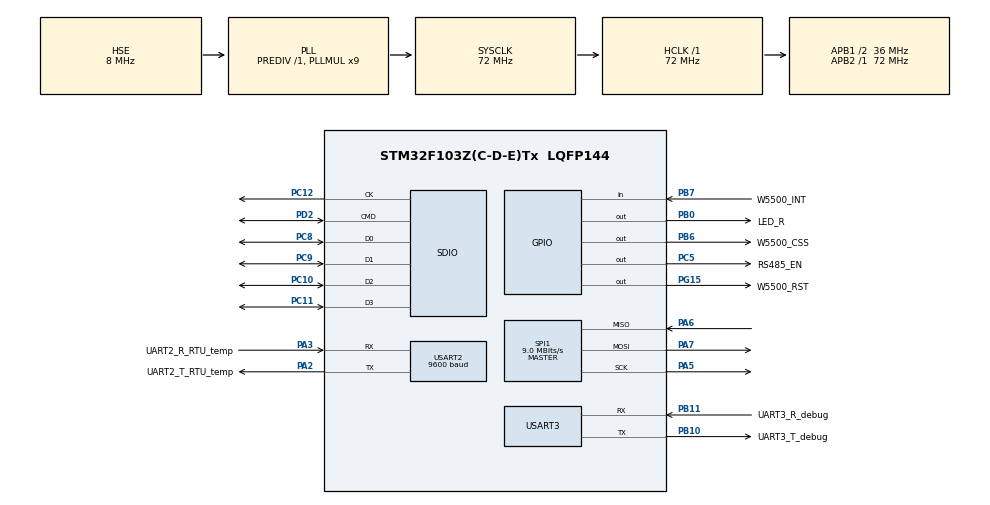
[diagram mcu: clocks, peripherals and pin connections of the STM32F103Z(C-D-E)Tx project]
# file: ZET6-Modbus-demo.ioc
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Dma.Request0=SDIO
Dma.SDIO.0.Direction=DMA_PERIPH_TO_MEMORY
Dma.SDIO.0.Instance=DMA2_Channel4
Dma.SDIO.0.MemDataAlignment=DMA_MDATAALIGN_WORD
Dma.SDIO.0.MemInc=DMA_MINC_ENABLE
Dma.SDIO.0.Mode=DMA_NORMAL
Dma.SDIO.0.PeriphDataAlignment=DMA_PDATAALIGN_WORD
Dma.SDIO.0.PeriphInc=DMA_PINC_DISABLE
Dma.SDIO.0.Priority=DMA_PRIORITY_LOW
FATFS._MAX_SS=4096
FATFS._USE_FIND=1
Mcu.Family=STM32F1
Mcu.Name=STM32F103Z(C-D-E)Tx
Mcu.Package=LQFP144
NVIC.DMA2_Channel4_5_IRQn=true\:0\:0\:false\:false\:true\:false\:true\:true
NVIC.PriorityGroup=NVIC_PRIORITYGROUP_4
NVIC.SDIO_IRQn=true\:0\:0\:false\:false\:true\:true\:true\:true
NVIC.SPI1_IRQn=true\:0\:0\:false\:false\:true\:true\:true\:true
NVIC.TIM2_IRQn=true\:0\:0\:false\:false\:true\:true\:true\:true
NVIC.USART2_IRQn=true\:0\:0\:false\:false\:true\:true\:true\:true
NVIC.USART3_IRQn=true\:0\:0\:false\:false\:true\:true\:true\:true
OSC_IN.Mode=HSE-External-Oscillator
OSC_IN.Signal=RCC_OSC_IN
OSC_OUT.Mode=HSE-External-Oscillator
OSC_OUT.Signal=RCC_OSC_OUT
PA13.Mode=Serial_Wire
PA13.Signal=SYS_JTMS-SWDIO
PA14.Mode=Serial_Wire
PA14.Signal=SYS_JTCK-SWCLK
PA2.GPIO_Label=UART2_T_RTU_temp
PA2.Mode=Asynchronous
PA2.Signal=USART2_TX
PA3.GPIO_Label=UART2_R_RTU_temp
PA3.GPIO_PuPd=GPIO_PULLUP
PA3.Mode=Asynchronous
PA3.Signal=USART2_RX
PA5.Mode=Full_Duplex_Master
PA5.Signal=SPI1_SCK
PA6.Mode=Full_Duplex_Master
PA6.Signal=SPI1_MISO
PA7.Mode=Full_Duplex_Master
PA7.Signal=SPI1_MOSI
PB0.GPIO_Label=LED_R
PB0.PinState=GPIO_PIN_RESET
PB0.Signal=GPIO_Output
PB10.GPIO_Label=UART3_T_debug
PB10.Mode=Asynchronous
PB10.Signal=USART3_TX
PB11.GPIO_Label=UART3_R_debug
PB11.Mode=Asynchronous
PB11.Signal=USART3_RX
PB6.GPIO_Label=W5500_CSS
PB6.Signal=GPIO_Output
PB7.GPIO_Label=W5500_INT
PB7.Signal=GPIO_Input
PC10.Mode=SD_4_bits_Wide_bus
PC10.Signal=SDIO_D2
PC11.Mode=SD_4_bits_Wide_bus
PC11.Signal=SDIO_D3
PC12.Mode=SD_4_bits_Wide_bus
PC12.Signal=SDIO_CK
PC5.GPIO_Label=RS485_EN
PC5.Signal=GPIO_Output
PC8.Mode=SD_4_bits_Wide_bus
PC8.Signal=SDIO_D0
PC9.Mode=SD_4_bits_Wide_bus
PC9.Signal=SDIO_D1
PD2.Mode=SD_4_bits_Wide_bus
PD2.Signal=SDIO_CMD
PG15.GPIO_Label=W5500_RST
PG15.GPIO_PuPd=GPIO_NOPULL
PG15.PinState=GPIO_PIN_SET
PG15.Signal=GPIO_Output
ProjectManager.HeapSize=0x200
ProjectManager.StackSize=0x400
ProjectManager.TargetToolchain=MDK-ARM V5.32
RCC.AHBFreq_Value=72000000
RCC.APB1CLKDivider=RCC_HCLK_DIV2
RCC.APB1Freq_Value=36000000
RCC.APB1TimFreq_Value=72000000
RCC.APB2Freq_Value=72000000
RCC.APB2TimFreq_Value=72000000
RCC.HCLKFreq_Value=72000000
RCC.PLLMUL=RCC_PLL_MUL9
RCC.PLLSourceVirtual=RCC_PLLSOURCE_HSE
RCC.SYSCLKFreq_VALUE=72000000
RCC.SYSCLKSource=RCC_SYSCLKSOURCE_PLLCLK
RCC.USBFreq_Value=72000000
SDIO.ClockDiv=1
SPI1.BaudRatePrescaler=SPI_BAUDRATEPRESCALER_8
SPI1.CalculateBaudRate=9.0 MBits/s
SPI1.Direction=SPI_DIRECTION_2LINES
SPI1.Mode=SPI_MODE_MASTER
SPI1.VirtualType=VM_MASTER
TIM2.AutoReloadPreload=TIM_AUTORELOAD_PRELOAD_ENABLE
TIM2.Period=9999
TIM2.Prescaler=7199
USART2.BaudRate=9600
USART2.VirtualMode=VM_ASYNC
USART3.VirtualMode=VM_ASYNC
VP_FATFS_VS_SDIO.Mode=SDIO
VP_TIM2_VS_ClockSourceINT.Mode=Internal
board=custom

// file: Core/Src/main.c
/* USER CODE BEGIN Header */
/**
  ******************************************************************************
  * @file           : main.c
  * @brief          : Main program body
  ******************************************************************************
  * @attention
  *
  * Copyright (c) 2026 STMicroelectronics.
  * All rights reserved.
  *
  * This software is licensed under terms that can be found in the LICENSE file
  * in the root directory of this software component.
  * If no LICENSE file comes with this software, it is provided AS-IS.
  *
  ******************************************************************************
  */
/* USER CODE END Header */
#include "main.h"
#include "dma.h"
#include "fatfs.h"
#include "sdio.h"
#include "spi.h"
#include "tim.h"
#include "usart.h"
#include "gpio.h"

/* USER CODE BEGIN Includes */
#include <stdio.h>
#include <string.h>
#include "socket.h"
#include "modbus.h"
#include <w5500.h>
#include <wizchip_conf.h>
#include "Conf_SPI_W5500.h"
#include "errno.h"

// for sd file
#include "fatfs.h"
#include "bsp_driver_sd.h"
#include "ff.h"
#include "diskio.h"
#include "myDiskio.h"
#include "SD.h"
/* USER CODE END Includes */

/* USER CODE BEGIN PTD */
static uint8_t tcp_rx_buf[MODBUS_TCP_MAX_ADU];   // TCP 接收缓冲
static uint8_t rtu_tx_buf[MODBUS_RTU_MAX_ADU];   // RTU 发�?�缓冲（请求�?
static uint8_t rtu_rx_buf[MODBUS_RTU_MAX_ADU];   // RTU 接收缓冲（响应）
static uint8_t rtu_req_buf[MODBUS_RTU_MAX_ADU];  // RTU 请求缓冲
static uint16_t sensor_vals[10];
static modbus_t *mb_tcp_ctx = NULL;
static modbus_mapping_t *mb_mapping = NULL;			// register mapping
uint16_t g_sensor_temp = 0;
uint16_t g_sensor_humi = 0;
volatile int writeCounter = 0;

SPI_HandleTypeDef * const p_hspi_w5500 = &hspi1;
		wiz_NetInfo gWIZNETINFO;		// setINFO
		wiz_NetInfo netinfo;			// readback

FATFS fs;			// Fatfs file system object
FIL file;			// file object
FRESULT fres;		// FatFs returnNum
UINT bw;			// write bytes

FRESULT fr = FR_NOT_READY;
FATFS SDFatFs; /* File system object for SD card logical drive */
UINT byteswritten, bytesread; /* File write/read counts */
uint16_t fileCounter = 0;
char SDFileName[13] = "test2000.txt";
char SDdata[SD_DATA_SIZE] = "1,1,31,16,30";

/* USER CODE END PTD */

/* USER CODE BEGIN PD */

void ModbusTCP_Server(void);
static void LibmodbusClientTest(void);
void Load_Net_Parameters(void);
uint8_t W5500_WaitReady(uint16_t timeout_ms);
void ModbusTCPSlaveTask(void);
uint8_t rx_byte;
int __io_putchar(int ch)
{
    HAL_UART_Transmit(&huart3, (uint8_t *)&ch, 1, 100);
    return ch;
}

// ???? Keil ???? fputc(???????)
int fputc(int ch, FILE *f)
{
    HAL_UART_Transmit(&huart3, (uint8_t *)&ch, 1, 100);
    return ch;
}

void my_rtu_abort_receive(void)
{

    HAL_UART_AbortReceive_IT(&huart2);  // 关键：中止中断接�?
}

HAL_StatusTypeDef UART_SendString(const char* str)
{
    uint16_t len = 0;
    while (str[len] != '\0') len++;  // ???????

    return HAL_UART_Transmit(&huart3, (uint8_t*)str, len, HAL_MAX_DELAY);  // ????
}

void HAL_TIM_PeriodElapsedCallback(TIM_HandleTypeDef *htim)
{
    if (htim == &htim2)  // ????????(????????????)
    {
        // ?????????
        // ??:?? LED?????????
		HAL_GPIO_WritePin(LED_R_GPIO_Port, LED_R_Pin, GPIO_PIN_RESET);
		// HAL_GPIO_TogglePin(LED_R_GPIO_Port,LED_R_Pin);
		printf("keep going from ZET6(%d).\r\n",HAL_GetUIDw0()&0xff);
		// HAL_GPIO_TogglePin(GPIOC,GPIO_PIN_5);
		HAL_GPIO_WritePin(LED_R_GPIO_Port, LED_R_Pin, GPIO_PIN_SET);

		// LibmodbusClientTest();
		// ifmodbus_read_input_registers(ctx, 0, 2, vals);

    }
}
static void LibmodbusClientTest(void)
{
	modbus_t *ctx;
	int rc;
	int rc2;
	uint16_t vals[2];

	ctx = modbus_new_st_rtu("uart2", 9600, 'N', 8, 1);
	modbus_set_slave(ctx, 1);
	//modbus_rtu_set_serial_mode(ctx,MODBUS_RTU_RS485);
	//modbus_rtu_set_rts(ctx, MODBUS_RTU_RTS_UP);        // 高电平使能发�?
	//modbus_rtu_set_rts_delay(ctx, 500);                // 500 μs 延时
	modbus_set_debug(ctx, TRUE);
	modbus_set_response_timeout(ctx, 0, 500000);   //
		modbus_set_byte_timeout(ctx, 0, 2000);   // 2 ms，常用安全�??

	rc = modbus_connect(ctx);
	if (rc == -1) {
		//fprintf(stderr, "Unable to connect %s\n", modbus_strerror(errno));
		printf("Unable to connect Slave");
		modbus_free(ctx);
	}

	// test get timeout
	uint32_t sec,usec;
	modbus_get_response_timeout(ctx,&sec,&usec);
	printf("modbus_get_response_timeout:sec:%u, usec:%u\r\n",sec,usec);

	for (;;) {

		// rc = modbus_read_input_registers(ctx, 0, 2, vals);
		rc = modbus_read_registers(ctx, 0, 2, vals);
		// rc2 = modbus_read_input_registers(ctx, 1, 1, vals2);

		printf("rc = %d\r\n",rc);
		// printf("waitting");
		if (rc == 2)
		{
		    // printf("TEM/HUM Sensor : temp %d.%d, humi %d.%d          \r\n", vals[0]/10, vals[0]%10, vals[1]/10, vals[1]%10);
			g_sensor_temp = vals[0];
			g_sensor_humi = vals[1];
			printf("TEMP:%d.%d\r\n", g_sensor_temp/10,g_sensor_temp%10);
			printf("HUMI: %d.%d\r\n",g_sensor_humi/10,g_sensor_humi%10);
		}

         HAL_Delay(900);
	}

	/* For RTU */
	modbus_close(ctx);
	modbus_free(ctx);
}

// 1. �? main.c 或合适地方，重写弱定义的回调（最干净�?
void HAL_UART_TxCpltCallback(UART_HandleTypeDef *huart)
{
    if (huart->Instance == USART2)
    {
        // 只有真正发�?�完成（�?后一个字�?+停止位发出）才会进这�?
        // RS485_RX_ENABLE();          // 切回接收
		//printf("ok\r\n");
        // 可�?�：清一些发送完成标�? send_complete = 1;
    }
}

/* USER CODE END PD */

void SystemClock_Config(void);

/* USER CODE BEGIN 0 */
//int sub(int a,int b){
//	return a - b;
//}

//int add(int a,int b){
//	return a+b;
//}
//typedef int(*pfun)(int,int);

//int calc(pfun fp,int a,int b){
//	return fp(a,b);
//}

/* USER CODE END 0 */

int main(void)
{

  /* USER CODE BEGIN 1 */
//	int x = 5, j = 2;
//	int z;
//	z = calc(add,5,2);
//	return 0;
  /* USER CODE END 1 */

  /* MCU Configuration--------------------------------------------------------*/

  /* Reset of all peripherals, Initializes the Flash interface and the Systick. */
  HAL_Init();

  /* Configure the system clock */
  SystemClock_Config();

  /* Initialize all configured peripherals */
  MX_GPIO_Init();
  MX_DMA_Init();
  MX_USART2_UART_Init();
  MX_USART3_UART_Init();
  MX_TIM2_Init();
  MX_SPI1_Init();
  MX_SDIO_SD_Init();
  MX_FATFS_Init();
  /* USER CODE BEGIN 2 */
	HAL_TIM_Base_Start_IT(&htim2);

	HAL_UART_Receive_IT(&huart2, &rx_byte, 1);  // rx_byte ??? uint8_t
	HAL_UART_AbortReceive_IT(&huart2);

	uint8_t memsize[2][8] = { {2,2,2,2,2,2,2,2},{2,2,2,2,2,2,2,2}};

	register_wizchip();
	Load_Net_Parameters();

	if (W5500_WaitReady(455) == 0)  // 轮询 100ms 超时
    {
        printf("W5500 init timeout! Check hardware.\r\n");
        NVIC_SystemReset();  // 立即软复位，整个 MCU 复位
		// while(1);  // 失败死循�?
    }
	printf("W5500 ready! VERSIONR = 0x%02X\r\n", getVERSIONR());
	// while(!(HAL_GPIO_ReadPin(W5500_RST_GPIO_Port,W5500_RST_Pin))){}
	// HAL_Delay(200);
		wizchip_setnetinfo(&gWIZNETINFO);

		wizchip_getnetinfo(&netinfo);
				// Determine if initialization was successful

		if(ctlwizchip(CW_INIT_WIZCHIP, (void*)memsize) == -1)
	{
		printf("WIZCHIP Initialized fail.\r\n");
		while(1);
	}

	printf("Current network info:\r\n");
printf("MAC : %02X:%02X:%02X:%02X:%02X:%02X\r\n",
       netinfo.mac[0], netinfo.mac[1], netinfo.mac[2],
       netinfo.mac[3], netinfo.mac[4], netinfo.mac[5]);

printf("IP  : %d.%d.%d.%d\r\n",
       netinfo.ip[0], netinfo.ip[1], netinfo.ip[2], netinfo.ip[3]);

printf("SN  : %d.%d.%d.%d\r\n",
       netinfo.sn[0], netinfo.sn[1], netinfo.sn[2], netinfo.sn[3]);

printf("GW  : %d.%d.%d.%d\r\n",
       netinfo.gw[0], netinfo.gw[1], netinfo.gw[2], netinfo.gw[3]);

printf("DNS : %d.%d.%d.%d\r\n",
       netinfo.dns[0], netinfo.dns[1], netinfo.dns[2], netinfo.dns[3]);

	// for SD 4bit
	HAL_SD_CardInfoTypeDef CardInfo;  // 加这行声明变量（必须！）
	mountSDCard(&fr,&SDFatFS);
		setFileName(&fileCounter, SDFileName);
		openWriteModeSDCardFile(&fr, SDFileName);
		printf("sddatalength:%d\r\n",strlen(SDdata));
		// writeSDCardFile(&fr, (void*) SDdata, strlen(SDdata), &byteswritten);
		writeSDCardFile(&fr, "I can.", 6, &byteswritten);
		printf("byteswritten : %d\r\n",byteswritten);

		// data_rate[i] = (float)(DATA_SIZE_BIT / 8.0f / 1000000.0f / (duration/1000.0f)) ; // in Byte/s

		closeSDCardFile(&fr);
		__NOP();

		uint32_t clkcr = SDIO->CLKCR;
		uint32_t widbus = (clkcr >> 10) & 0x03;
		if (widbus == 0x02) {
			printf("4bit\r\n");
			// return 4;   // 4-bit 模式
		} else if (widbus == 0x00) {
			printf("1bit\r\n");
			// return 1;   // 1-bit 模式
		} else {
			printf("fail\r\n");
			return 0;   // 未知/错误
		}

#define oneBIT
	// SD 1BIT START
#ifndef oneBIT

	// start SD CARD
	if (HAL_SD_GetCardInfo(&hsd, &CardInfo) == HAL_OK) {
		printf("Card Detected! Type: %d, Version: %d\r\n", CardInfo.CardType, CardInfo.CardVersion);
	}

// 无需宽濻线代�?

// 等待 TRANSFER 状濁（保险＿
uint32_t timeout2 = HAL_GetTick() + 200;
while (HAL_SD_GetCardState(&hsd) != HAL_SD_CARD_TRANSFER) {
    if (HAL_GetTick() > timeout2) break;
    HAL_Delay(1);
}
printf("Card State: %d\r\n", HAL_SD_GetCardState(&hsd));

// 底层初始�?
DRESULT res = disk_initialize(0);
printf("disk_initialize: %d\r\n", res);

// 挂载
fres = f_mount(&fs, "", 1);
printf("Mount: %d\r\n", fres);

if (fres == FR_OK) {
    // 测试写文�?
    FIL file;
    if (f_open(&file, "test8.txt", FA_CREATE_ALWAYS | FA_WRITE) == FR_OK) {
        UINT bw;
        f_write(&file, "F103 SD 1-bit OK!", 17, &bw);
        f_close(&file);
        printf("Write SUCCESS!\r\n");
    }
	else printf("Write fail\r\n");
}
fres = f_mount(&fs, "", 0);
#endif
// SD 1BIT END

	// SD 4BIT START
//	if (HAL_SD_GetCardInfo(&hsd, &CardInfo) == HAL_OK) {
//		printf("Card Detected! Type: %d, Version: %d\r\n", CardInfo.CardType, CardInfo.CardVersion);
//	} else {
//		printf("GetCardInfo FAILED! ErrorCode: 0x%08d\r\n", hsd.ErrorCode);
//	}

//	// 现在调用 disk_initialize 并打印返回�??
//	DRESULT res = disk_initialize(0);
//	printf("disk_initialize result: %d ", res);
//	if (res == RES_OK)       printf("(OK)\r\n");
//	else if (res == RES_ERROR)   printf("(ERROR)\r\n");
//	else if (res == RES_NOTRDY)  printf("(NOT READY)\r\n");
//	else if (res == RES_PARERR)  printf("(PARERR error)\r\n");
//	else printf("(UNKNOWN)\r\n");

//	// 如果失败，再打印卡状�?
//	HAL_SD_CardStateTypeDef state = HAL_SD_GetCardState(&hsd);
//	printf("Current Card State: %d (0=IDLE, 4=TRANSFER normal)\r\n", state);

//	// 再尝试挂�?
//	fres = f_mount(&fs, "", 1);
//	printf("Mount result: %d\r\n", fres);
	// SD 4bit end

  /* USER CODE END 2 */

  /* Infinite loop */
  /* USER CODE BEGIN WHILE */
  // printf("Hello, from ZET6\r\n");
 	  // LibmodbusClientTest();
  while (1)
  {
    /* USER CODE END WHILE */

    /* USER CODE BEGIN 3 */
	   // LibmodbusClientTest();
	  // ModbusTCP_Server();

  }

  /* USER CODE END 3 */
}

void SystemClock_Config(void)
{
  RCC_OscInitTypeDef RCC_OscInitStruct = {0};
  RCC_ClkInitTypeDef RCC_ClkInitStruct = {0};

  /** Initializes the RCC Oscillators according to the specified parameters
  * in the RCC_OscInitTypeDef structure.
  */
  RCC_OscInitStruct.OscillatorType = RCC_OSCILLATORTYPE_HSE;
  RCC_OscInitStruct.HSEState = RCC_HSE_ON;
  RCC_OscInitStruct.HSEPredivValue = RCC_HSE_PREDIV_DIV1;
  RCC_OscInitStruct.HSIState = RCC_HSI_ON;
  RCC_OscInitStruct.PLL.PLLState = RCC_PLL_ON;
  RCC_OscInitStruct.PLL.PLLSource = RCC_PLLSOURCE_HSE;
  RCC_OscInitStruct.PLL.PLLMUL = RCC_PLL_MUL9;
  if (HAL_RCC_OscConfig(&RCC_OscInitStruct) != HAL_OK)
  {
    Error_Handler();
  }

  /** Initializes the CPU, AHB and APB buses clocks
  */
  RCC_ClkInitStruct.ClockType = RCC_CLOCKTYPE_HCLK|RCC_CLOCKTYPE_SYSCLK
                              |RCC_CLOCKTYPE_PCLK1|RCC_CLOCKTYPE_PCLK2;
  RCC_ClkInitStruct.SYSCLKSource = RCC_SYSCLKSOURCE_PLLCLK;
  RCC_ClkInitStruct.AHBCLKDivider = RCC_SYSCLK_DIV1;
  RCC_ClkInitStruct.APB1CLKDivider = RCC_HCLK_DIV2;
  RCC_ClkInitStruct.APB2CLKDivider = RCC_HCLK_DIV1;

  if (HAL_RCC_ClockConfig(&RCC_ClkInitStruct, FLASH_LATENCY_2) != HAL_OK)
  {
    Error_Handler();
  }
}

/* USER CODE BEGIN 4 */

/**
  * @brief  Modbus TCP 服务器主循环
  *         监听 502 端口，接收请�? �? 转发 RTU �? 构�?�响应返�?
  */
void ModbusTCP_Server(void)
{
    int32_t sock = socket(0, Sn_MR_TCP, MODBUS_TCP_PORT, 0);
    if (sock < 0)
    {
        printf("TCP socket create failed: %d\r\n", sock);
        return;
    }

    if (listen(sock) != SOCK_OK)
    {
        printf("TCP listen failed\r\n");
        close(sock);
        return;
    }

    printf("Modbus TCP listening on port %d...\r\n", MODBUS_TCP_PORT);

    while (1)
    {
        uint8_t sr = getSn_SR(sock);
        if (sr == SOCK_ESTABLISHED)
        {
            uint16_t rx_len = getSn_RX_RSR(sock);
            if (rx_len > 0)
            {
                // 接收 Modbus TCP 请求�?
                int32_t recv_len = recv(sock, tcp_rx_buf, MODBUS_TCP_MAX_ADU);
                if (recv_len <= 7)  // 至少要有 MBAP �? 7 字节
                {
                    continue;
                }

                // 解析 MBAP �?
                uint16_t transaction_id = (tcp_rx_buf[0] << 8) | tcp_rx_buf[1];
                uint16_t protocol_id    = (tcp_rx_buf[2] << 8) | tcp_rx_buf[3];
                uint16_t length         = (tcp_rx_buf[4] << 8) | tcp_rx_buf[5];
                uint8_t  unit_id        = tcp_rx_buf[6];

                // 基本校验
                if (protocol_id != 0 || length < 2 || length > MODBUS_TCP_MAX_ADU_LENGTH - 7)
                {
                    close(sock);
                    continue;
                }

                // 提取 PDU（从�? 7 字节�?始）
                uint8_t *pdu = &tcp_rx_buf[7];
                uint16_t pdu_len = length - 1;  // 减去 unit_id

                printf("Received Modbus TCP: TID=%04X, Unit=%d, PDU len=%d\r\n",
                       transaction_id, unit_id, pdu_len);

                // 创建临时�? libmodbus RTU 上下文（只用于解�?/构建 PDU�?
                modbus_t *rtu_ctx = modbus_new_st_rtu("uart2", 9600, 'N', 8, 1);
                if (rtu_ctx == NULL)
                {
                    printf("RTU ctx create failed\r\n");
                    continue;
                }

                modbus_set_slave(rtu_ctx, unit_id);
				modbus_set_debug(rtu_ctx, TRUE);
                modbus_set_response_timeout(rtu_ctx, 0, 600000);   // 500ms，与�? RTU 示例�?�?
                modbus_set_byte_timeout(rtu_ctx, 0, 20000);

				// 提取请求中的起始地址和数量（假设功能�? 0x03 读保持寄存器�?
                if (pdu[0] == 0x03 && pdu_len >= 5)  // 功能�? + 地址(2B) + 数量(2B)
                {
                    uint16_t start_addr = (pdu[1] << 8) | pdu[2];
                    uint16_t nb         = (pdu[3] << 8) | pdu[4];

                    // 调用你熟悉的 modbus_read_registers（与 RTU 示例完全�?样）
                    int rc = modbus_read_registers(rtu_ctx, start_addr, nb, sensor_vals);

                    printf("TCPrc = %d\r\n", rc);

                    if (rc == nb)  // 成功读取 nb 个寄存器
                    {
                        // 构�?�响�? PDU
                        uint8_t resp_pdu[MODBUS_TCP_MAX_ADU];
                        uint16_t resp_pdu_len = 0;

                        resp_pdu[resp_pdu_len++] = 0x03;             // 功能�?
                        resp_pdu[resp_pdu_len++] = nb * 2;           // 字节计数

                        // 填充数据（大端序�?
                        for (int i = 0; i < nb; i++)
                        {
                            resp_pdu[resp_pdu_len++] = sensor_vals[i] >> 8;
                            resp_pdu[resp_pdu_len++] = sensor_vals[i] & 0xFF;
                        }

                        // 构�?�完�? TCP 响应�?
                        uint8_t resp_buf[MODBUS_TCP_MAX_ADU];
                        uint16_t resp_len = 0;

                        // MBAP 头：复制请求的前 4 字节（TID + Protocol ID�?
                        memcpy(resp_buf, tcp_rx_buf, 4);
                        resp_len += 4;

                        // Length = PDU长度 + 1（Unit ID�?
                        uint16_t mbap_len = resp_pdu_len + 1;
                        resp_buf[resp_len++] = mbap_len >> 8;
                        resp_buf[resp_len++] = mbap_len & 0xFF;

                        // Unit ID
                        resp_buf[resp_len++] = unit_id;

                        // PDU
                        memcpy(&resp_buf[resp_len], resp_pdu, resp_pdu_len);
                        resp_len += resp_pdu_len;

                        // 发�?�响应（使用你提供的 send 函数�?
                        send(sock, resp_buf, resp_len);
                        printf("Sent Modbus TCP response, len=%d\r\n", resp_len);
							printf("Resp_buf: \r\n");
							printf("-->>>>>>> ");
						for(int i = 0;i < resp_len;i++){
							printf("%02x ",resp_buf[i]);
						}
						printf(" <<<<<<<<--\r\n");
						// printf("Resp_buf: ");
                    }
                    else
                    {
                        printf("RTU read failed: %s\r\n", modbus_strerror(errno));
                    }
                }
                else
                {
                    printf("Unsupported function code or request format\r\n");
                }

                modbus_free(rtu_ctx);

		}
	}
        // 处理连接状�?�变�?
        uint8_t sr2 = getSn_SR(sock);
        if (sr2 == SOCK_CLOSE_WAIT || sr2 == SOCK_CLOSED || sr2 == SOCK_LAST_ACK)
        {
            close(sock);
            // 重新创建 socket 继续监听
            sock = socket(0, Sn_MR_TCP, MODBUS_TCP_PORT, 0);
            listen(sock);
        }
		HAL_Delay(1);

	}
}

// Modbus TCP Slave 任务（放在主循环或独立任务中�?
//void ModbusTCPSlaveTask(void)
//{
//    // 创建 TCP Slave，监听所有接口，端口 502
//    mb_tcp_ctx = modbus_new_tcp("0.0.0.0", 502);
//    if (mb_tcp_ctx == NULL)
//    {
//        printf("Modbus TCP create failed: %s\r\n", modbus_strerror(errno));
//        return;
//    }

//    // 创建寄存器映射（这里映射 100 个保持寄存器，供上位机读写）
//    mb_mapping = modbus_mapping_new(0, 0, 100, 0);  // 0 coil, 0 discrete, 100 holding, 0 input
//    if (mb_mapping == NULL)
//    {
//        printf("Modbus mapping failed: %s\r\n", modbus_strerror(errno));
//        modbus_free(mb_tcp_ctx);
//        return;
//    }

//    // 把传感器数据映射到保持寄存器（例如地�? 0=温度, 1=湿度�?
//    while (1)
//    {
//        // 实时更新缓存�? Modbus 寄存�?
//        mb_mapping->tab_registers[0] = g_sensor_temp;   // 温度 ×10
//        mb_mapping->tab_registers[1] = g_sensor_humi;   // 湿度 ×10

//        // 监听并处理一�? TCP 连接
//        int sock = modbus_tcp_listen(mb_tcp_ctx, 1);  // 监听，允�? 1 个连�?
//        if (sock == -1)
//        {
//            printf("Modbus TCP listen failed: %s\r\n", modbus_strerror(errno));
//            continue;
//        }

//        modbus_tcp_accept(mb_tcp_ctx, &sock);  // 接受连接

//        // 循环处理请求（直到客户端断开�?
//        while (1)
//        {
//            uint8_t query[MODBUS_TCP_MAX_ADU_LENGTH];
//            int rc = modbus_receive(mb_tcp_ctx, query);
//            if (rc > 0)
//            {
//                // 处理请求并回�?
//                modbus_reply(mb_tcp_ctx, query, rc, mb_mapping);
//            }
//            else if (rc == -1)
//            {
//                // 客户端断�?或错�?
//                break;
//            }
//        }

//        modbus_close(mb_tcp_ctx);  // 关闭当前连接，继续监听下�?�?
//    }

//    // 清理（正常不会走到这里）
//    modbus_mapping_free(mb_mapping);
//    modbus_free(mb_tcp_ctx);
//}
// 判断 W5500 就绪的轮询函�?
uint8_t W5500_WaitReady(uint16_t timeout_ms)
{
    uint32_t start = HAL_GetTick();
    uint8_t version = 0;

    while (HAL_GetTick() - start < timeout_ms)
    {
        version = getVERSIONR();  // 读取 VERSIONR 寄存�?
        if (version == 0x04)
        {
            return 1;  // 就绪成功
        }
        HAL_Delay(1);  // 短延时重�?
    }
    return 0;  // 超时失败
}

void Load_Net_Parameters(void)
{
	uint32_t uid[3];
	uid[0] = HAL_GetUIDw0();
	// printf("uid[0]: %d\r\n",uid[0]);
	uid[1] = HAL_GetUIDw1();
	// printf("uid[1]: %d\r\n",uid[1]);

	// uid[2] = (HAL_GetUIDw2());
	// printf("uid[2]: %d\r\n",uid[2]);

	uid[2] = uid[0] ^ uid[1];
	// uint32_t mix = *(uint32_t*)&uid[0]
	// printf("UID: %02x %02x %02x\r\n",(uid[3] >> 16) & 0xFF,(uid[3] >> 8) & 0xFF,uid[3] & 0xFF);
	gWIZNETINFO.gw[0] = 192; //Gateway
	gWIZNETINFO.gw[1] = 168;
	gWIZNETINFO.gw[2] = 99;
	gWIZNETINFO.gw[3] = 1;

	gWIZNETINFO.sn[0]=255; //Mask
	gWIZNETINFO.sn[1]=255;
	gWIZNETINFO.sn[2]=255;
	gWIZNETINFO.sn[3]=0;

	gWIZNETINFO.mac[0]=0x06; //MAC
	gWIZNETINFO.mac[1]=0x29;
	gWIZNETINFO.mac[2]=0xab;
	gWIZNETINFO.mac[3]=(uid[2] >> 16) & 0xFF;
	gWIZNETINFO.mac[4]=(uid[2] >> 8) & 0xFF;
	gWIZNETINFO.mac[5]=uid[2] & 0xFF;

	gWIZNETINFO.ip[0]=192; //IP
	gWIZNETINFO.ip[1]=168;
	gWIZNETINFO.ip[2]=99;
	gWIZNETINFO.ip[3]=199;

	gWIZNETINFO.dns[0] = 192;
	gWIZNETINFO.dns[1] = 168;
	gWIZNETINFO.dns[2] = 99;
	gWIZNETINFO.dns[3] = 1;
	gWIZNETINFO.dhcp = NETINFO_STATIC;
}

// 在主循环或任务中
/* USER CODE END 4 */

void Error_Handler(void)
{
  __disable_irq();
  while (1)
  {
  }
}
